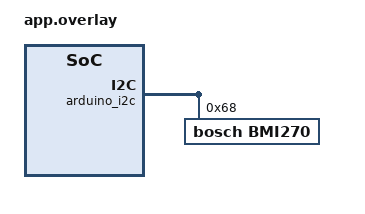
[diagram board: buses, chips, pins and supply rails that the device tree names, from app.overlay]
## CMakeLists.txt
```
#
# Copyright (c) 2021 Bosch Sensortec GmbH
#
# SPDX-License-Identifier: Apache-2.0
#

cmake_minimum_required(VERSION 3.13.1)
find_package(Zephyr HINTS $ENV{ZEPHYR_BASE})
project(NONE)

FILE(GLOB app_sources src/*.c)
target_sources(app PRIVATE ${app_sources})
```

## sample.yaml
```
sample:
  name: BMI270 Sensor sample
tests:
  sample.sensor.bmi270:
    harness: sensor
    tags: samples sensor
    depends_on: arduino_i2c
```

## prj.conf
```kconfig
CONFIG_STDOUT_CONSOLE=y
CONFIG_I2C=y
CONFIG_SENSOR=y
CONFIG_BMI270=y
```

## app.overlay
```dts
/*
 * Copyright (c) 2021 Bosch Sensortec GmbH
 *
 * SPDX-License-Identifier: Apache-2.0
 */

&arduino_i2c {
	status = "okay";

	bmi270@68 {
		compatible = "bosch,bmi270";
		reg = <0x68>;
		label = "BMI270";
	};
};
```

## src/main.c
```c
/*
 * Copyright (c) 2021 Bosch Sensortec GmbH
 *
 * SPDX-License-Identifier: Apache-2.0
 */

#include <zephyr.h>
#include <device.h>
#include <drivers/sensor.h>
#include <stdio.h>

void main(void)
{
	const struct device *dev;
	struct sensor_value acc[3], gyr[3];
	struct sensor_value full_scale, sampling_freq, oversampling;

	dev = device_get_binding(DT_LABEL(DT_INST(0, bosch_bmi270)));
	if (dev == NULL) {
		printf("Could not get %s device\n",
		       DT_LABEL(DT_INST(0, bosch_bmi270)));
		return;
	}

	printf("Device %p name is %s\n", dev,
	       DT_LABEL(DT_INST(0, bosch_bmi270)));

	/* Setting scale in G, due to loss of precision if the SI unit m/s^2
	 * is used
	 */
	full_scale.val1 = 2;            /* G */
	full_scale.val2 = 0;
	sampling_freq.val1 = 100;       /* Hz. Performance mode */
	sampling_freq.val2 = 0;
	oversampling.val1 = 1;          /* Normal mode */
	oversampling.val2 = 0;

	sensor_attr_set(dev, SENSOR_CHAN_ACCEL_XYZ, SENSOR_ATTR_FULL_SCALE,
			&full_scale);
	sensor_attr_set(dev, SENSOR_CHAN_ACCEL_XYZ, SENSOR_ATTR_OVERSAMPLING,
			&oversampling);
	/* Set sampling frequency last as this also sets the appropriate
	 * power mode. If already sampling, change to 0.0Hz before changing
	 * other attributes
	 */
	sensor_attr_set(dev, SENSOR_CHAN_ACCEL_XYZ,
			SENSOR_ATTR_SAMPLING_FREQUENCY,
			&sampling_freq);


	/* Setting scale in degrees/s to match the sensor scale */
	full_scale.val1 = 500;          /* dps */
	full_scale.val2 = 0;
	sampling_freq.val1 = 100;       /* Hz. Performance mode */
	sampling_freq.val2 = 0;
	oversampling.val1 = 1;          /* Normal mode */
	oversampling.val2 = 0;

	sensor_attr_set(dev, SENSOR_CHAN_GYRO_XYZ, SENSOR_ATTR_FULL_SCALE,
			&full_scale);
	sensor_attr_set(dev, SENSOR_CHAN_GYRO_XYZ, SENSOR_ATTR_OVERSAMPLING,
			&oversampling);
	/* Set sampling frequency last as this also sets the appropriate
	 * power mode. If already sampling, change sampling frequency to
	 * 0.0Hz before changing other attributes
	 */
	sensor_attr_set(dev, SENSOR_CHAN_GYRO_XYZ,
			SENSOR_ATTR_SAMPLING_FREQUENCY,
			&sampling_freq);

	while (1) {
		/* 10ms period, 100Hz Sampling frequency */
		k_sleep(K_MSEC(10));

		sensor_sample_fetch(dev);

		sensor_channel_get(dev, SENSOR_CHAN_ACCEL_XYZ, acc);
		sensor_channel_get(dev, SENSOR_CHAN_GYRO_XYZ, gyr);

		printf("AX: %d.%06d; AY: %d.%06d; AZ: %d.%06d; "
		       "GX: %d.%06d; GY: %d.%06d; GZ: %d.%06d;\n",
		       acc[0].val1, acc[0].val2,
		       acc[1].val1, acc[1].val2,
		       acc[2].val1, acc[2].val2,
		       gyr[0].val1, gyr[0].val2,
		       gyr[1].val1, gyr[1].val2,
		       gyr[2].val1, gyr[2].val2);
	}
}
```
